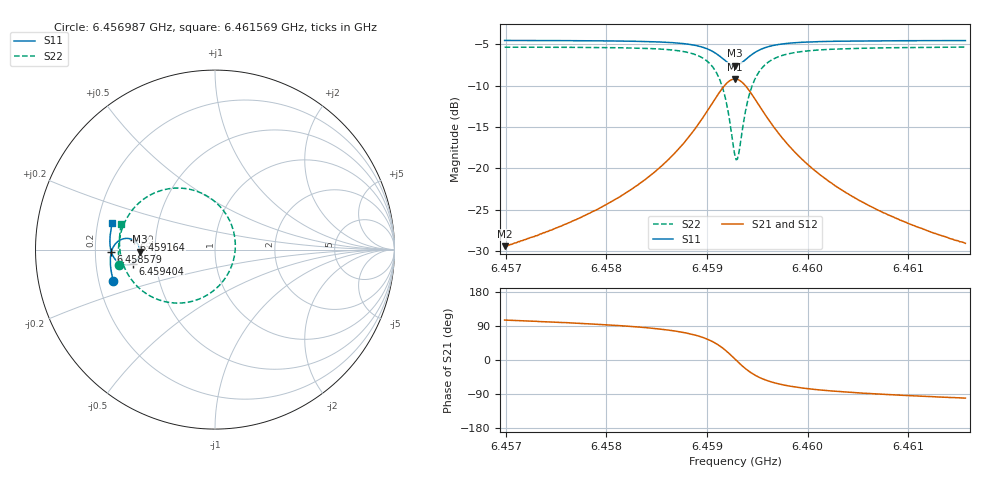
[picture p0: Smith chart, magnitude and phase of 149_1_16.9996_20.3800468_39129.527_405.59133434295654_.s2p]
#  HZ  S  RI  R  50.00
! Rohde & Schwarz Vector Network Analyzer
! Rohde-Schwarz,ZNB20-2Port,1311601062101988,3.16
! Created: UTC 3/20/2024, 10:58:45 PM
! freq[Hz]  re:S11  im:S11  re:S21  im:S21  re:S12  im:S12  re:S22  im:S22
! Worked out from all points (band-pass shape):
!   401 points, 6.456987 GHz to 6.461569 GHz, reference 50 ohm
!   highest |S21| = -9.20 dB at 6.459278 GHz (marker M1); lowest = -29.4 dB at 6.456987 GHz (marker M2)
!   |S21| within 3 dB of the highest: 6.459049 GHz to 6.459507 GHz (458.2 kHz wide, 0.00709 % of centre)
!   lowest |S11| = -7.6 dB at 6.459278 GHz (marker M3), VSWR 2.43, Z = 20.6 - j0.576 ohm
!   |S11| at or under -10 dB: nowhere
!   |S22| runs from -19.0 to -5.3 dB; largest |S21 - S12| = 0.014
!   S11 on the Smith chart (normalised r, x): 6.456987 GHz: 0.26, -0.14; 6.458579 GHz: 0.27, -0.01; 6.459164 GHz: 0.37, +0.05; 6.459404 GHz: 0.37, -0.07; 6.461569 GHz: 0.26, +0.12
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6.4569873e9  -0.5664 -0.1728  -0.00901 0.0327  -0.00726 0.0325  -0.5321 -0.0848
6.4577547e9  -0.5804 -0.1056  -0.00571 0.0505  -0.00312 0.05  -0.5375 0.00508
6.4581442e9  -0.5833 -0.0667  -0.000436 0.0681  0.00261 0.0668  -0.5308 0.066
6.4585222e9  -0.5795 -0.0218  0.0142 0.0991  0.018 0.0965  -0.5041 0.1502
6.4585795e9  -0.5777 -0.0139  0.0184 0.1061  0.0226 0.1029  -0.4961 0.1668
6.4587857e9  -0.5647 0.0183  0.046 0.1387  0.0501 0.1337  -0.4443 0.2396
6.4589346e9  -0.542 0.0447  0.0915 0.1694  0.0948 0.1626  -0.3606 0.3044
6.4590721e9  -0.4979 0.0622  0.1791 0.1859  0.18 0.1787  -0.201 0.3428
6.4591637e9  -0.453 0.052  0.2693 0.1545  0.2696 0.1487  -0.0341 0.2921
6.4592324e9  -0.4239 0.0197  0.3301 0.0825  0.3323 0.0772  0.0813 0.1623
6.4592783e9  -0.4169 -0.0116  0.3464 0.0143  0.35 0.00741  0.1132 0.0353
6.4592897e9  -0.4173 -0.0197  0.3461 -0.00348  0.35 -0.0112  0.1128 0.00148
6.4593126e9  -0.4209 -0.0352  0.3406 -0.0384  0.3445 -0.0474  0.1016 -0.0643
6.4593584e9  -0.4365 -0.0615  0.3118 -0.0982  0.3141 -0.11  0.0436 -0.1773
6.4594043e9  -0.4587 -0.0779  0.2697 -0.1393  0.269 -0.1525  -0.0414 -0.252
6.4594959e9  -0.5022 -0.0849  0.1849 -0.1705  0.1787 -0.182  -0.2102 -0.298
6.4596448e9  -0.5462 -0.0645  0.0968 -0.1568  0.0884 -0.163  -0.3778 -0.2488
6.4598052e9  -0.5679 -0.0368  0.0518 -0.1289  0.0442 -0.1317  -0.4584 -0.1768
6.4600457e9  -0.5808 -0.00141  0.0226 -0.0974  0.0168 -0.098  -0.5063 -0.0946
6.4604008e9  -0.5855 0.0408  0.00617 -0.07  0.00214 -0.0695  -0.5283 -0.0134
6.4608132e9  -0.5838 0.0822  -0.00128 -0.052  -0.00414 -0.0512  -0.5324 0.0524
6.4615692e9  -0.5719 0.1493  -0.00644 -0.0347  -0.00807 -0.0337  -0.5212 0.142
